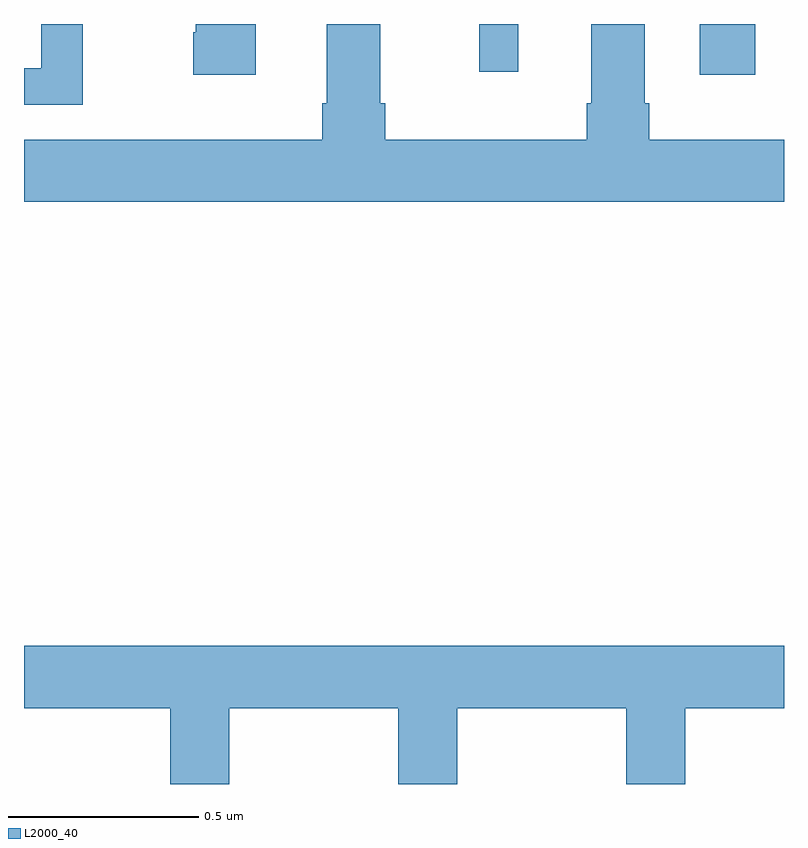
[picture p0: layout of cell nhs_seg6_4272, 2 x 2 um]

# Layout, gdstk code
import gdstk
lib = gdstk.Library(unit=1e-6, precision=1e-09)
def R(c, l, rs):  # rectangles x0, y0, x1, y1
    for r in rs: c.add(gdstk.rectangle(r[:2], r[2:], *l))
def P(c, l, *ps):  # polygons
    for p in ps: c.add(gdstk.Polygon(p, *l))
L2000_40 = (2000, 40)

nhs_seg6_4272 = lib.new_cell('nhs_seg6_4272')
R(nhs_seg6_4272, L2000_40, [(169.778,918.366,169.924,918.5), (169.198,918.375,169.301,918.5)])
P(nhs_seg6_4272, L2000_40, [(170,918.196),(169.646,918.196),(169.646,918.292),(169.633,918.292),(169.633,918.5),(169.493,918.5),(169.493,918.292),(169.481,918.292),(169.481,918.196),(168.95,918.196),(168.95,918.292),(168.937,918.292),(168.937,918.5),(168.797,918.5),(168.797,918.292),(168.785,918.292),(168.785,918.196),(168,918.196),(168,918.032),(170,918.032)],
  [(168.61,918.5),(168.452,918.5),(168.452,918.478),(168.445,918.478),(168.445,918.366),(168.61,918.366)],
  [(168.154,918.5),(168.045,918.5),(168.045,918.384),(168,918.384),(168,918.288),(168.154,918.288)],
  [(168.54,916.7),(168.985,916.7),(168.985,916.5),(169.14,916.5),(169.14,916.7),(169.585,916.7),(169.585,916.5),(169.74,916.5),(169.74,916.7),(170,916.7),(170,916.864),(168,916.864),(168,916.7),(168.385,916.7),(168.385,916.5),(168.54,916.5)])

lib.write_gds('nhs_seg6_4272.gds')
